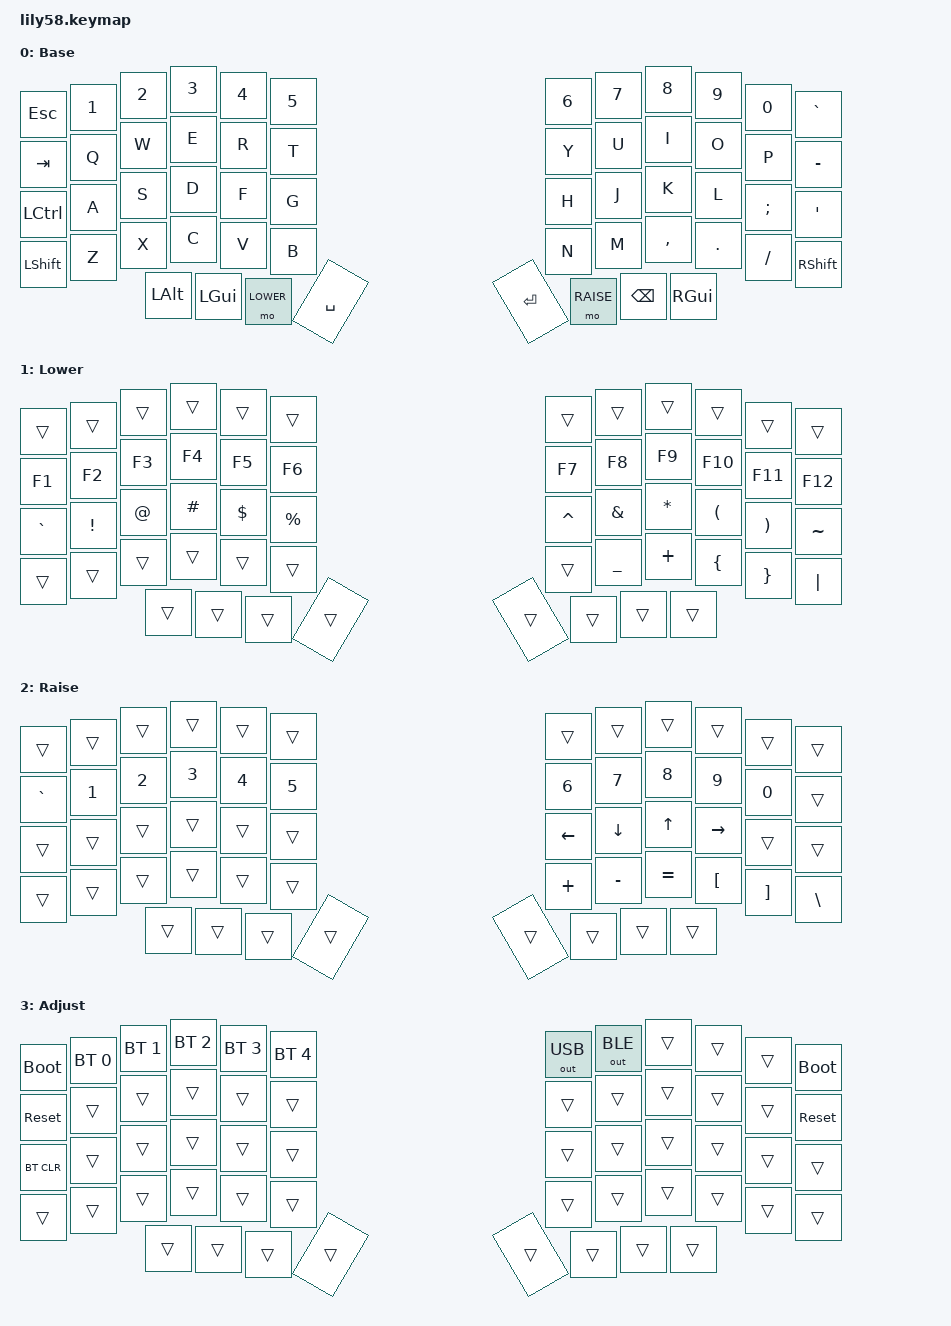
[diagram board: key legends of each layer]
/*
 * The dongle is the central, so THIS is the keymap that actually runs.
 * (The halves also compile it, but ignore it.)
 * 56 keys: the inner key under each nice!nano is removed.
 */
#include <behaviors.dtsi>
#include <dt-bindings/zmk/keys.h>
#include <dt-bindings/zmk/bt.h>
#include <dt-bindings/zmk/outputs.h>

#define BASE   0
#define LOWER  1
#define RAISE  2
#define ADJUST 3

/ {
    conditional_layers {
        compatible = "zmk,conditional-layers";
        tri_layer {
            if-layers = <LOWER RAISE>;
            then-layer = <ADJUST>;
        };
    };

    combos {
        compatible = "zmk,combos";
        /* Both top corners together on the Adjust layer -> DONGLE into bootloader */
        combo_dongle_bootloader {
            timeout-ms = <80>;
            key-positions = <0 11>;
            layers = <3>;
            bindings = <&bootloader>;
        };
    };

    keymap {
        compatible = "zmk,keymap";

        base_layer {
            display-name = "Base";
            bindings = <
&kp ESC   &kp N1 &kp N2 &kp N3 &kp N4 &kp N5                       &kp N6 &kp N7 &kp N8    &kp N9  &kp N0   &kp GRAVE
&kp TAB   &kp Q  &kp W  &kp E  &kp R  &kp T                        &kp Y  &kp U  &kp I     &kp O   &kp P    &kp MINUS
&kp LCTRL &kp A  &kp S  &kp D  &kp F  &kp G                        &kp H  &kp J  &kp K     &kp L   &kp SEMI &kp SQT
&kp LSHFT &kp Z &kp X &kp C &kp V &kp B                   &kp N &kp M &kp COMMA &kp DOT &kp FSLH &kp RSHFT
                 &kp LALT &kp LGUI &mo LOWER &kp SPACE   &kp RET   &mo RAISE &kp BSPC &kp RGUI
            >;
        };

        lower_layer {
            display-name = "Lower";
            bindings = <
&trans    &trans    &trans    &trans    &trans    &trans                    &trans    &trans    &trans    &trans    &trans    &trans
&kp F1    &kp F2    &kp F3    &kp F4    &kp F5    &kp F6                    &kp F7    &kp F8    &kp F9    &kp F10   &kp F11   &kp F12
&kp GRAVE &kp EXCL  &kp AT    &kp HASH  &kp DLLR  &kp PRCNT                 &kp CARET &kp AMPS  &kp ASTRK &kp LPAR  &kp RPAR  &kp TILDE
&trans &trans &trans &trans &trans &trans                   &trans &kp UNDER &kp PLUS &kp LBRC &kp RBRC &kp PIPE
                    &trans    &trans    &trans    &trans                    &trans    &trans    &trans    &trans
            >;
        };

        raise_layer {
            display-name = "Raise";
            bindings = <
&trans    &trans    &trans    &trans    &trans    &trans                    &trans    &trans    &trans    &trans    &trans    &trans
&kp GRAVE &kp N1    &kp N2    &kp N3    &kp N4    &kp N5                    &kp N6    &kp N7    &kp N8    &kp N9    &kp N0    &trans
&trans    &trans    &trans    &trans    &trans    &trans                    &kp LEFT  &kp DOWN  &kp UP    &kp RIGHT &trans    &trans
&trans &trans &trans &trans &trans &trans                   &kp PLUS &kp MINUS &kp EQUAL &kp LBKT &kp RBKT &kp BSLH
                    &trans    &trans    &trans    &trans                    &trans    &trans    &trans    &trans
            >;
        };

        /* Adjust = hold Lower + Raise, then:
         *   top-left key             -> LEFT half into bootloader
         *   top-right key            -> RIGHT half into bootloader
         *   both top corners at once -> DONGLE into bootloader (combo above)
         *   key below each corner    -> soft reset that half
         *   left end of 3rd row      -> clear Bluetooth pairings
         */
        adjust_layer {
            display-name = "Adjust";
            bindings = <
&bootloader  &bt BT_SEL 0 &bt BT_SEL 1 &bt BT_SEL 2 &bt BT_SEL 3 &bt BT_SEL 4             &out OUT_USB &out OUT_BLE &trans &trans &trans &bootloader
&sys_reset   &trans       &trans       &trans       &trans       &trans                   &trans       &trans       &trans &trans &trans &sys_reset
&bt BT_CLR   &trans       &trans       &trans       &trans       &trans                   &trans       &trans       &trans &trans &trans &trans
&trans &trans &trans &trans &trans &trans                   &trans &trans &trans &trans &trans &trans
                          &trans       &trans       &trans       &trans                   &trans       &trans       &trans &trans
            >;
        };
    };
};
